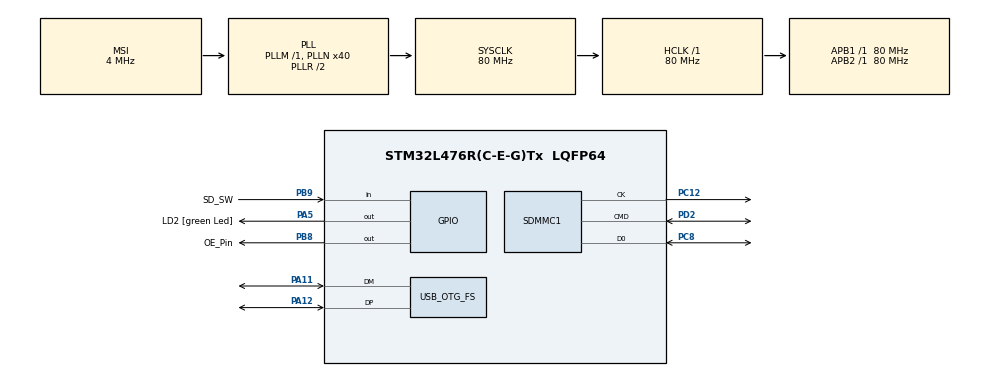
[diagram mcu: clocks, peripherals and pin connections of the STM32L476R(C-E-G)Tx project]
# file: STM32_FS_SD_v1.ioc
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Dma.Request0=SDMMC1_RX
Dma.Request1=SDMMC1_TX
Dma.SDMMC1_RX.0.Direction=DMA_PERIPH_TO_MEMORY
Dma.SDMMC1_RX.0.Instance=DMA2_Channel4
Dma.SDMMC1_RX.0.MemDataAlignment=DMA_MDATAALIGN_WORD
Dma.SDMMC1_RX.0.MemInc=DMA_MINC_ENABLE
Dma.SDMMC1_RX.0.Mode=DMA_NORMAL
Dma.SDMMC1_RX.0.PeriphDataAlignment=DMA_PDATAALIGN_WORD
Dma.SDMMC1_RX.0.PeriphInc=DMA_PINC_DISABLE
Dma.SDMMC1_RX.0.Priority=DMA_PRIORITY_LOW
Dma.SDMMC1_TX.1.Direction=DMA_MEMORY_TO_PERIPH
Dma.SDMMC1_TX.1.Instance=DMA2_Channel5
Dma.SDMMC1_TX.1.MemDataAlignment=DMA_MDATAALIGN_WORD
Dma.SDMMC1_TX.1.MemInc=DMA_MINC_ENABLE
Dma.SDMMC1_TX.1.Mode=DMA_NORMAL
Dma.SDMMC1_TX.1.PeriphDataAlignment=DMA_PDATAALIGN_WORD
Dma.SDMMC1_TX.1.PeriphInc=DMA_PINC_DISABLE
Dma.SDMMC1_TX.1.Priority=DMA_PRIORITY_LOW
FATFS.BSP.number=1
FATFS.USE_DMA_CODE_SD=0
FATFS._USE_LFN=1
FATFS0.BSP.STBoard=false
FATFS0.BSP.api=Unknown
FATFS0.BSP.instance=PB9
FATFS0.BSP.ip=GPIO
FATFS0.BSP.mode=Input
FATFS0.BSP.name=Detect_SDIO
FATFS0.BSP.solution=PB9
Mcu.Family=STM32L4
Mcu.Name=STM32L476R(C-E-G)Tx
Mcu.Package=LQFP64
NVIC.DMA2_Channel4_IRQn=true\:0\:0\:false\:false\:true\:false\:true\:true
NVIC.DMA2_Channel5_IRQn=true\:0\:0\:false\:false\:true\:false\:true\:true
NVIC.OTG_FS_IRQn=true\:0\:0\:false\:false\:true\:false\:true\:true
NVIC.PriorityGroup=NVIC_PRIORITYGROUP_4
NVIC.SDMMC1_IRQn=true\:0\:0\:false\:false\:true\:true\:true\:true
PA11.Mode=Device_Only
PA11.Signal=USB_OTG_FS_DM
PA12.Mode=Device_Only
PA12.Signal=USB_OTG_FS_DP
PA5.GPIO_Label=LD2 [green Led]
PA5.GPIO_ModeDefaultOutputPP=GPIO_MODE_OUTPUT_PP
PA5.GPIO_PuPd=GPIO_NOPULL
PA5.GPIO_Speed=GPIO_SPEED_FREQ_LOW
PA5.Signal=GPIO_Output
PB8.GPIO_Label=OE_Pin
PB8.GPIO_ModeDefaultOutputPP=GPIO_MODE_OUTPUT_OD
PB8.GPIO_PuPd=GPIO_NOPULL
PB8.Signal=GPIO_Output
PB9.GPIO_Label=SD_SW
PB9.Signal=GPIO_Input
PC12.Mode=SD_1_bit
PC12.Signal=SDMMC1_CK
PC8.Mode=SD_1_bit
PC8.Signal=SDMMC1_D0
PD2.Mode=SD_1_bit
PD2.Signal=SDMMC1_CMD
PH0-OSC_IN\ (PH0).Mode=HSE-External-Oscillator
PH0-OSC_IN\ (PH0).Signal=RCC_OSC_IN
PH1-OSC_OUT\ (PH1).Mode=HSE-External-Oscillator
PH1-OSC_OUT\ (PH1).Signal=RCC_OSC_OUT
ProjectManager.HeapSize=0x200
ProjectManager.StackSize=0x400
ProjectManager.TargetToolchain=STM32CubeIDE
RCC.ADCFreq_Value=48000000
RCC.AHBFreq_Value=80000000
RCC.APB1Freq_Value=80000000
RCC.APB1TimFreq_Value=80000000
RCC.APB2Freq_Value=80000000
RCC.APB2TimFreq_Value=80000000
RCC.CortexFreq_Value=80000000
RCC.HCLKFreq_Value=80000000
RCC.HSE_VALUE=8000000
RCC.HSI_VALUE=16000000
RCC.LSE_VALUE=32768
RCC.MSI_VALUE=4000000
RCC.PLLN=40
RCC.PLLSAI1N=24
RCC.PREFETCH_ENABLE=1
RCC.SYSCLKFreq_VALUE=80000000
RCC.SYSCLKSource=RCC_SYSCLKSOURCE_PLLCLK
RCC.USBFreq_Value=48000000
RCC.VCOOutputFreq_Value=160000000
SDMMC1.ClockDiv=4
USB_DEVICE.CLASS_NAME_FS=MSC
USB_DEVICE.VirtualMode=Msc
USB_DEVICE.VirtualModeFS=Msc_FS
USB_OTG_FS.VirtualMode=Device_Only
VP_FATFS_VS_SDIO.Mode=SDIO
VP_USB_DEVICE_VS_USB_DEVICE_MSC_FS.Mode=MSC_FS
board=NUCLEO-L476RG

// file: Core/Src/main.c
/* USER CODE BEGIN Header */
/**
  ******************************************************************************
  * @file           : main.c
  * @brief          : Main program body
  ******************************************************************************
  * @attention
  *
  * Copyright (c) 2023 STMicroelectronics.
  * All rights reserved.
  *
  * This software is licensed under terms that can be found in the LICENSE file
  * in the root directory of this software component.
  * If no LICENSE file comes with this software, it is provided AS-IS.
  *
  ******************************************************************************
  */
/* USER CODE END Header */
#include "main.h"
#include "fatfs.h"
#include "usb_device.h"

/* USER CODE BEGIN Includes */
#include "string.h"
#include "ff_gen_drv.h"
/* USER CODE END Includes */

SD_HandleTypeDef hsd1;
DMA_HandleTypeDef hdma_sdmmc1_rx;
DMA_HandleTypeDef hdma_sdmmc1_tx;

/* USER CODE BEGIN PV */
FRESULT res; /* FatFs function common result code */
uint32_t byteswritten, bytesread; /* File write/read counts */
uint8_t wtext[_MAX_LFN] = "Mass Storage and SD Card work!"; /* File write buffer */
uint8_t rtext[_MAX_SS];/* File read buffer */
/* USER CODE END PV */

void SystemClock_Config(void);
void PeriphCommonClock_Config(void);
static void MX_GPIO_Init(void);
static void MX_DMA_Init(void);
static void MX_SDMMC1_SD_Init(void);

int main(void)
{

  /* MCU Configuration--------------------------------------------------------*/

  /* Reset of all peripherals, Initializes the Flash interface and the Systick. */
  HAL_Init();

  /* Configure the system clock */
  SystemClock_Config();

/* Configure the peripherals common clocks */
  PeriphCommonClock_Config();

  /* Initialize all configured peripherals */
  MX_GPIO_Init();
  MX_DMA_Init();
  MX_SDMMC1_SD_Init();
  MX_FATFS_Init();
  MX_USB_DEVICE_Init();
  /* USER CODE BEGIN 2 */
  if(f_mount(&SDFatFS, (TCHAR const*)SDPath, 0) != FR_OK)
  {
      Error_Handler();
  }
  else
  {
//	  res = f_mkfs((TCHAR const*)SDPath, FM_ANY, 0, rtext, sizeof(rtext)); //If you want to re-format the SD-card
//      if(res != FR_OK)
//      {
//          Error_Handler();
//      }
//      else
//      {
          //Open file for writing (Create)
	  //do{
	  //HAL_Delay(500);
    	  res = f_open(&SDFile, "STM32_New_File.txt", FA_CREATE_ALWAYS | FA_WRITE);
	  //}while(res != FR_OK);

          if(res != FR_OK)
          {
              Error_Handler();
          }
          else
          {
              //Write to the text file
              res = f_write(&SDFile, wtext, strlen((char *)wtext), (void *)&byteswritten);
              if((byteswritten == 0) || (res != FR_OK))
              {
                  Error_Handler();
              }
              else
              {
                  f_close(&SDFile);
              }
          }

  }

  f_mount(&SDFatFS, (TCHAR const*)NULL, 0);
  /* USER CODE END 2 */

  /* Infinite loop */
  while (1)
  {

  }
}

void SystemClock_Config(void)
{
  RCC_OscInitTypeDef RCC_OscInitStruct = {0};
  RCC_ClkInitTypeDef RCC_ClkInitStruct = {0};

  /** Configure the main internal regulator output voltage
  */
  if (HAL_PWREx_ControlVoltageScaling(PWR_REGULATOR_VOLTAGE_SCALE1) != HAL_OK)
  {
    Error_Handler();
  }

  /** Initializes the RCC Oscillators according to the specified parameters
  * in the RCC_OscInitTypeDef structure.
  */
  RCC_OscInitStruct.OscillatorType = RCC_OSCILLATORTYPE_MSI;
  RCC_OscInitStruct.MSIState = RCC_MSI_ON;
  RCC_OscInitStruct.MSICalibrationValue = 0;
  RCC_OscInitStruct.MSIClockRange = RCC_MSIRANGE_6;
  RCC_OscInitStruct.PLL.PLLState = RCC_PLL_ON;
  RCC_OscInitStruct.PLL.PLLSource = RCC_PLLSOURCE_MSI;
  RCC_OscInitStruct.PLL.PLLM = 1;
  RCC_OscInitStruct.PLL.PLLN = 40;
  RCC_OscInitStruct.PLL.PLLP = RCC_PLLP_DIV7;
  RCC_OscInitStruct.PLL.PLLQ = RCC_PLLQ_DIV2;
  RCC_OscInitStruct.PLL.PLLR = RCC_PLLR_DIV2;
  if (HAL_RCC_OscConfig(&RCC_OscInitStruct) != HAL_OK)
  {
    Error_Handler();
  }

  /** Initializes the CPU, AHB and APB buses clocks
  */
  RCC_ClkInitStruct.ClockType = RCC_CLOCKTYPE_HCLK|RCC_CLOCKTYPE_SYSCLK
                              |RCC_CLOCKTYPE_PCLK1|RCC_CLOCKTYPE_PCLK2;
  RCC_ClkInitStruct.SYSCLKSource = RCC_SYSCLKSOURCE_PLLCLK;
  RCC_ClkInitStruct.AHBCLKDivider = RCC_SYSCLK_DIV1;
  RCC_ClkInitStruct.APB1CLKDivider = RCC_HCLK_DIV1;
  RCC_ClkInitStruct.APB2CLKDivider = RCC_HCLK_DIV1;

  if (HAL_RCC_ClockConfig(&RCC_ClkInitStruct, FLASH_LATENCY_4) != HAL_OK)
  {
    Error_Handler();
  }
}

void PeriphCommonClock_Config(void)
{
  RCC_PeriphCLKInitTypeDef PeriphClkInit = {0};

  /** Initializes the peripherals clock
  */
  PeriphClkInit.PeriphClockSelection = RCC_PERIPHCLK_USB|RCC_PERIPHCLK_SDMMC1;
  PeriphClkInit.UsbClockSelection = RCC_USBCLKSOURCE_PLLSAI1;
  PeriphClkInit.Sdmmc1ClockSelection = RCC_SDMMC1CLKSOURCE_PLLSAI1;
  PeriphClkInit.PLLSAI1.PLLSAI1Source = RCC_PLLSOURCE_MSI;
  PeriphClkInit.PLLSAI1.PLLSAI1M = 1;
  PeriphClkInit.PLLSAI1.PLLSAI1N = 24;
  PeriphClkInit.PLLSAI1.PLLSAI1P = RCC_PLLP_DIV7;
  PeriphClkInit.PLLSAI1.PLLSAI1Q = RCC_PLLQ_DIV2;
  PeriphClkInit.PLLSAI1.PLLSAI1R = RCC_PLLR_DIV2;
  PeriphClkInit.PLLSAI1.PLLSAI1ClockOut = RCC_PLLSAI1_48M2CLK;
  if (HAL_RCCEx_PeriphCLKConfig(&PeriphClkInit) != HAL_OK)
  {
    Error_Handler();
  }
}

static void MX_SDMMC1_SD_Init(void)
{

  hsd1.Instance = SDMMC1;
  hsd1.Init.ClockEdge = SDMMC_CLOCK_EDGE_RISING;
  hsd1.Init.ClockBypass = SDMMC_CLOCK_BYPASS_DISABLE;
  hsd1.Init.ClockPowerSave = SDMMC_CLOCK_POWER_SAVE_DISABLE;
  hsd1.Init.BusWide = SDMMC_BUS_WIDE_1B;
  hsd1.Init.HardwareFlowControl = SDMMC_HARDWARE_FLOW_CONTROL_DISABLE;
  hsd1.Init.ClockDiv = 4;

}

static void MX_DMA_Init(void)
{

  /* DMA controller clock enable */
  __HAL_RCC_DMA2_CLK_ENABLE();

  /* DMA interrupt init */
  /* DMA2_Channel4_IRQn interrupt configuration */
  HAL_NVIC_SetPriority(DMA2_Channel4_IRQn, 0, 0);
  HAL_NVIC_EnableIRQ(DMA2_Channel4_IRQn);
  /* DMA2_Channel5_IRQn interrupt configuration */
  HAL_NVIC_SetPriority(DMA2_Channel5_IRQn, 0, 0);
  HAL_NVIC_EnableIRQ(DMA2_Channel5_IRQn);

}

static void MX_GPIO_Init(void)
{
  GPIO_InitTypeDef GPIO_InitStruct = {0};

  /* GPIO Ports Clock Enable */
  __HAL_RCC_GPIOH_CLK_ENABLE();
  __HAL_RCC_GPIOA_CLK_ENABLE();
  __HAL_RCC_GPIOC_CLK_ENABLE();
  __HAL_RCC_GPIOD_CLK_ENABLE();
  __HAL_RCC_GPIOB_CLK_ENABLE();

  /*Configure GPIO pin Output Level */
  HAL_GPIO_WritePin(LD2_GPIO_Port, LD2_Pin, GPIO_PIN_RESET);

  /*Configure GPIO pin Output Level */
  HAL_GPIO_WritePin(OE_Pin_GPIO_Port, OE_Pin_Pin, GPIO_PIN_RESET);

  /*Configure GPIO pin : LD2_Pin */
  GPIO_InitStruct.Pin = LD2_Pin;
  GPIO_InitStruct.Mode = GPIO_MODE_OUTPUT_PP;
  GPIO_InitStruct.Pull = GPIO_NOPULL;
  GPIO_InitStruct.Speed = GPIO_SPEED_FREQ_LOW;
  HAL_GPIO_Init(LD2_GPIO_Port, &GPIO_InitStruct);

  /*Configure GPIO pin : OE_Pin_Pin */
  GPIO_InitStruct.Pin = OE_Pin_Pin;
  GPIO_InitStruct.Mode = GPIO_MODE_OUTPUT_OD;
  GPIO_InitStruct.Pull = GPIO_NOPULL;
  GPIO_InitStruct.Speed = GPIO_SPEED_FREQ_LOW;
  HAL_GPIO_Init(OE_Pin_GPIO_Port, &GPIO_InitStruct);

  /*Configure GPIO pin : SD_SW_Pin */
  GPIO_InitStruct.Pin = SD_SW_Pin;
  GPIO_InitStruct.Mode = GPIO_MODE_INPUT;
  GPIO_InitStruct.Pull = GPIO_NOPULL;
  HAL_GPIO_Init(SD_SW_GPIO_Port, &GPIO_InitStruct);

}

void Error_Handler(void)
{
  __disable_irq();
  while (1)
  {
  }
}
